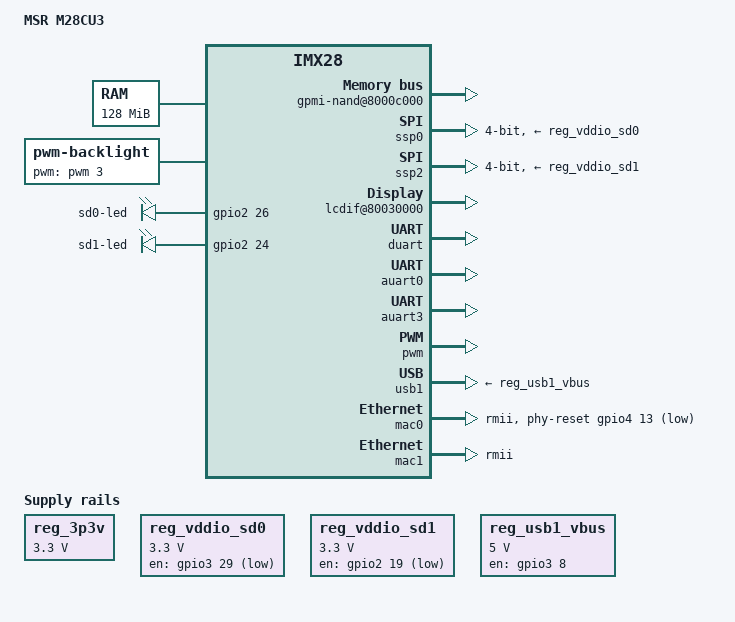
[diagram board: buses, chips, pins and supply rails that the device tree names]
/*
 * Copyright (C) 2013 Marek Vasut <marex@denx.de>
 *
 * The code contained herein is licensed under the GNU General Public
 * License. You may obtain a copy of the GNU General Public License
 * Version 2 or later at the following locations:
 *
 * http://www.opensource.org/licenses/gpl-license.html
 * http://www.gnu.org/copyleft/gpl.html
 */

/dts-v1/;
#include "imx28.dtsi"

/ {
	model = "MSR M28CU3";
	compatible = "msr,m28cu3", "fsl,imx28";

	memory {
		reg = <0x40000000 0x08000000>;
	};

	apb@80000000 {
		apbh@80000000 {
			gpmi-nand@8000c000 {
				#address-cells = <1>;
				#size-cells = <1>;
				pinctrl-names = "default";
				pinctrl-0 = <&gpmi_pins_a &gpmi_status_cfg>;
				status = "okay";

				partition@0 {
					label = "gpmi-nfc-0-boot";
					reg = <0x00000000 0x01400000>;
					read-only;
				};

				partition@1 {
					label = "gpmi-nfc-general-use";
					reg = <0x01400000 0x0ec00000>;
				};
			};

			ssp0: ssp@80010000 {
				compatible = "fsl,imx28-mmc";
				pinctrl-names = "default";
				pinctrl-0 = <&mmc0_4bit_pins_a
					     &mmc0_cd_cfg
					     &mmc0_sck_cfg>;
				bus-width = <4>;
				vmmc-supply = <&reg_vddio_sd0>;
				status = "okay";
			};

			ssp2: ssp@80014000 {
				compatible = "fsl,imx28-mmc";
				pinctrl-names = "default";
				pinctrl-0 = <&mmc2_4bit_pins_a
					     &mmc2_cd_cfg
					     &mmc2_sck_cfg>;
				bus-width = <4>;
				vmmc-supply = <&reg_vddio_sd1>;
				status = "okay";
			};

			pinctrl@80018000 {
				pinctrl-names = "default";
				pinctrl-0 = <&hog_pins_a>;

				hog_pins_a: hog@0 {
					reg = <0>;
					fsl,pinmux-ids = <
						MX28_PAD_SSP2_SS0__GPIO_2_19
						MX28_PAD_PWM4__GPIO_3_29
						MX28_PAD_AUART2_RX__GPIO_3_8
						MX28_PAD_ENET0_RX_CLK__GPIO_4_13
					>;
					fsl,drive-strength = <MXS_DRIVE_4mA>;
					fsl,voltage = <MXS_VOLTAGE_HIGH>;
					fsl,pull-up = <MXS_PULL_DISABLE>;
				};

				lcdif_pins_m28: lcdif-m28@0 {
					reg = <0>;
					fsl,pinmux-ids = <
						MX28_PAD_LCD_VSYNC__LCD_VSYNC
						MX28_PAD_LCD_HSYNC__LCD_HSYNC
						MX28_PAD_LCD_DOTCLK__LCD_DOTCLK
						MX28_PAD_LCD_RESET__LCD_RESET
						MX28_PAD_LCD_CS__LCD_ENABLE
						MX28_PAD_AUART1_TX__GPIO_3_5
					>;
					fsl,drive-strength = <MXS_DRIVE_4mA>;
					fsl,voltage = <MXS_VOLTAGE_HIGH>;
					fsl,pull-up = <MXS_PULL_DISABLE>;
				};

				led_pins_gpio: leds-m28@0 {
					reg = <0>;
					fsl,pinmux-ids = <
						MX28_PAD_SSP3_MISO__GPIO_2_26
						MX28_PAD_SSP3_SCK__GPIO_2_24
					>;
					fsl,drive-strength = <MXS_DRIVE_4mA>;
					fsl,voltage = <MXS_VOLTAGE_HIGH>;
					fsl,pull-up = <MXS_PULL_DISABLE>;
				};
			};

			ocotp@8002c000 {
				status = "okay";
			};

			lcdif@80030000 {
				pinctrl-names = "default";
				pinctrl-0 = <&lcdif_24bit_pins_a
					     &lcdif_pins_m28>;
				display = <&display0>;
				status = "okay";

				display0: display0 {
					bits-per-pixel = <32>;
					bus-width = <24>;

					display-timings {
						native-mode = <&timing0>;
						timing0: timing0 {
							clock-frequency = <6410256>;
							hactive = <320>;
							vactive = <240>;
							hback-porch = <38>;
							hfront-porch = <20>;
							vback-porch = <15>;
							vfront-porch = <5>;
							hsync-len = <30>;
							vsync-len = <3>;
							hsync-active = <0>;
							vsync-active = <0>;
							de-active = <1>;
							pixelclk-active = <1>;
						};
					};
				};
			};
		};

		apbx@80040000 {
			duart: serial@80074000 {
				pinctrl-names = "default";
				pinctrl-0 = <&duart_pins_b>;
				status = "okay";
			};

			usbphy1: usbphy@8007e000 {
				status = "okay";
			};

			auart0: serial@8006a000 {
				pinctrl-names = "default";
				pinctrl-0 = <&auart0_2pins_a>;
				status = "okay";
			};

			auart3: serial@80070000 {
				pinctrl-names = "default";
				pinctrl-0 = <&auart3_2pins_b>;
				status = "okay";
			};

			pwm: pwm@80064000 {
				pinctrl-names = "default";
				pinctrl-0 = <&pwm3_pins_a>;
				status = "okay";
			};
		};
	};

	ahb@80080000 {
		usb1: usb@80090000 {
			vbus-supply = <&reg_usb1_vbus>;
			pinctrl-names = "default";
			pinctrl-0 = <&usb1_pins_a>;
			disable-over-current;
			status = "okay";
		};

		mac0: ethernet@800f0000 {
			phy-mode = "rmii";
			pinctrl-names = "default";
			pinctrl-0 = <&mac0_pins_a>;
			phy-reset-gpios = <&gpio4 13 0>;
			phy-reset-duration = <100>;
			status = "okay";
		};

		mac1: ethernet@800f4000 {
			phy-mode = "rmii";
			pinctrl-names = "default";
			pinctrl-0 = <&mac1_pins_a>;
			status = "okay";
		};
	};

	backlight {
		compatible = "pwm-backlight";
		pwms = <&pwm 3 5000000>;
		brightness-levels = <0 4 8 16 32 64 128 255>;
		default-brightness-level = <6>;
	};

	leds {
		compatible = "gpio-leds";
		pinctrl-names = "default";
		pinctrl-0 = <&led_pins_gpio>;

		user1 {
			label = "sd0-led";
			gpios = <&gpio2 26 0>;
			linux,default-trigger = "mmc0";
		};

		user2 {
			label = "sd1-led";
			gpios = <&gpio2 24 0>;
			linux,default-trigger = "mmc2";
		};
	};

	regulators {
		compatible = "simple-bus";
		#address-cells = <1>;
		#size-cells = <0>;

		reg_3p3v: regulator@0 {
			compatible = "regulator-fixed";
			reg = <0>;
			regulator-name = "3P3V";
			regulator-min-microvolt = <3300000>;
			regulator-max-microvolt = <3300000>;
			regulator-always-on;
		};

		reg_vddio_sd0: regulator@1 {
			compatible = "regulator-fixed";
			reg = <1>;
			regulator-name = "vddio-sd0";
			regulator-min-microvolt = <3300000>;
			regulator-max-microvolt = <3300000>;
			gpio = <&gpio3 29 0>;
		};

		reg_vddio_sd1: regulator@2 {
			compatible = "regulator-fixed";
			reg = <2>;
			regulator-name = "vddio-sd1";
			regulator-min-microvolt = <3300000>;
			regulator-max-microvolt = <3300000>;
			gpio = <&gpio2 19 0>;
		};

		reg_usb1_vbus: regulator@3 {
			compatible = "regulator-fixed";
			reg = <3>;
			regulator-name = "usb1_vbus";
			regulator-min-microvolt = <5000000>;
			regulator-max-microvolt = <5000000>;
			gpio = <&gpio3 8 0>;
			enable-active-high;
		};
	};
};
